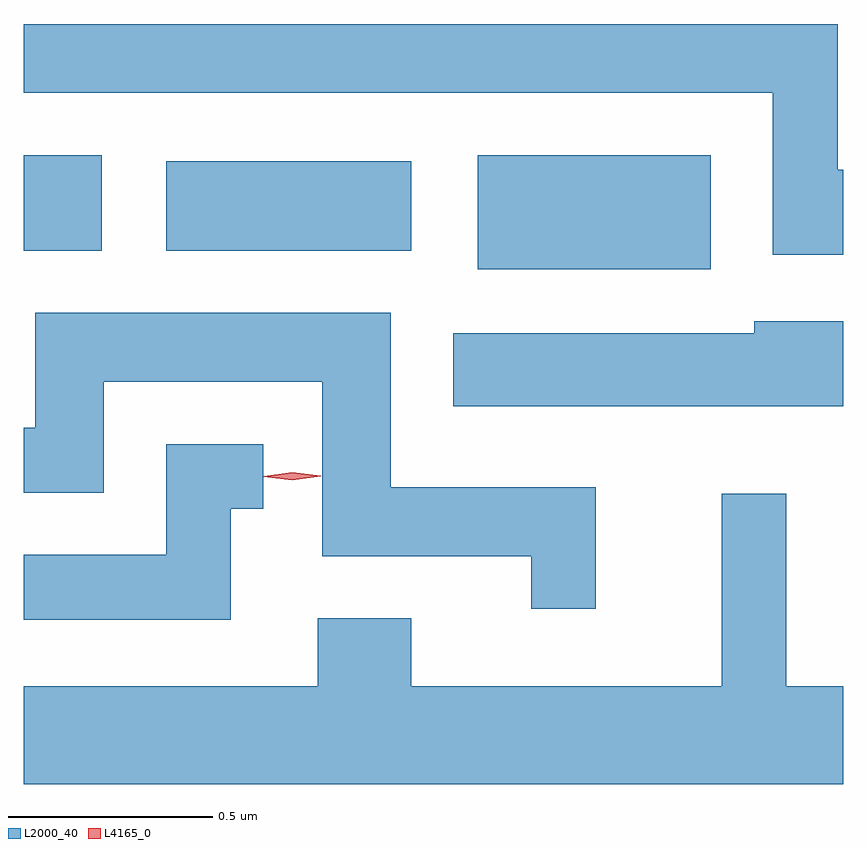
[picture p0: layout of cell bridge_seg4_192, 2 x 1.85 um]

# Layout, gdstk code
import gdstk
lib = gdstk.Library(unit=1e-6, precision=1e-09)
def R(c, l, rs):  # rectangles x0, y0, x1, y1
    for r in rs: c.add(gdstk.rectangle(r[:2], r[2:], *l))
def P(c, l, *ps):  # polygons
    for p in ps: c.add(gdstk.Polygon(p, *l))
L2000_40 = (2000, 40)
L4165_0 = (4165, 0)

bridge_seg4_192 = lib.new_cell('bridge_seg4_192')
R(bridge_seg4_192, L2000_40, [(1000.101,1271.601,1000.669,1271.879), (998.993,1271.646,999.184,1271.879), (999.341,1271.646,999.939,1271.864)])
P(bridge_seg4_192, L2000_40, [(1000.993,1271.844),(1000.979,1271.844),(1000.979,1272.199),(998.993,1272.199),(998.993,1272.031),(1000.821,1272.031),(1000.821,1271.636),(1000.993,1271.636)],
  [(1000.389,1271.069),(999.889,1271.069),(999.889,1271.494),(999.021,1271.494),(999.021,1271.214),(998.993,1271.214),(998.993,1271.056),(999.189,1271.056),(999.189,1271.326),(999.721,1271.326),(999.721,1270.901),(1000.231,1270.901),(1000.231,1270.773),(1000.389,1270.773)],
  [(1000.993,1271.474),(1000.776,1271.474),(1000.776,1271.444),(1000.041,1271.444),(1000.041,1271.266),(1000.993,1271.266)],
  [(999.499,1271.016),(999.578,1271.016),(999.578,1271.174),(999.341,1271.174),(999.341,1270.904),(998.993,1270.904),(998.993,1270.746),(999.499,1270.746)],
  [(1000.993,1270.584),(1000.854,1270.584),(1000.854,1271.053),(1000.696,1271.053),(1000.696,1270.584),(999.939,1270.584),(999.939,1270.749),(999.711,1270.749),(999.711,1270.584),(998.993,1270.584),(998.993,1270.345),(1000.993,1270.345)])
P(bridge_seg4_192, L4165_0, [(999.648,1271.086),(999.579,1271.095),(999.579,1271.096),(999.579,1271.096),(999.648,1271.106),(999.718,1271.097),(999.718,1271.096),(999.718,1271.096)])

lib.write_gds('bridge_seg4_192.gds')
